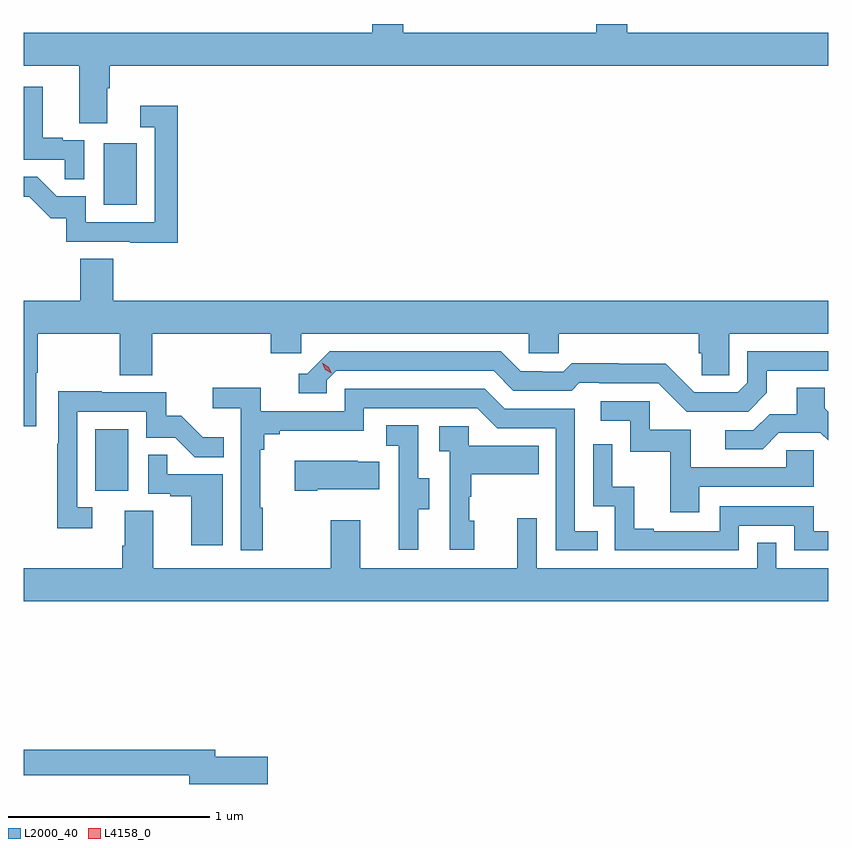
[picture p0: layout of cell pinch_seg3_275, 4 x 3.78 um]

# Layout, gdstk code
import gdstk
lib = gdstk.Library(unit=1e-6, precision=1e-09)
def R(c, l, rs):  # rectangles x0, y0, x1, y1
    for r in rs: c.add(gdstk.rectangle(r[:2], r[2:], *l))
def P(c, l, *ps):  # polygons
    for p in ps: c.add(gdstk.Polygon(p, *l))
L2000_40 = (2000, 40)
L4158_0 = (4158, 0)

pinch_seg3_275 = lib.new_cell('pinch_seg3_275')
R(pinch_seg3_275, L2000_40, [(897.476,708.126,897.64,708.433), (897.518,709.548,897.682,709.855)])
P(pinch_seg3_275, L2000_40, [(897.535,710.128),(897.548,710.128),(897.548,710.24),(901.121,710.24),(901.121,710.404),(900.122,710.404),(900.122,710.448),(899.969,710.448),(899.969,710.404),(899.009,710.404),(899.009,710.448),(898.853,710.448),(898.853,710.404),(897.121,710.404),(897.121,710.24),(897.395,710.24),(897.395,709.954),(897.535,709.954)],
  [(897.42,709.869),(897.314,709.869),(897.314,709.882),(897.214,709.882),(897.214,710.137),(897.121,710.137),(897.121,709.773),(897.325,709.773),(897.325,709.675),(897.42,709.675)],
  [(897.887,710.041),(897.699,710.041),(897.699,709.935),(897.771,709.935),(897.771,709.461),(897.429,709.461),(897.429,709.59),(897.285,709.59),(897.187,709.688),(897.121,709.688),(897.121,709.589),(897.147,709.589),(897.254,709.482),(897.331,709.482),(897.331,709.365),(897.649,709.365),(897.649,709.36),(897.887,709.36)],
  [(897.181,708.712),(897.189,708.712),(897.189,708.908),(897.598,708.908),(897.598,708.7),(897.758,708.7),(897.758,708.908),(898.349,708.908),(898.349,708.81),(898.5,708.81),(898.5,708.908),(899.631,708.908),(899.631,708.81),(899.781,708.81),(899.781,708.908),(900.479,708.908),(900.479,708.81),(900.493,708.81),(900.493,708.7),(900.63,708.7),(900.63,708.908),(901.121,708.908),(901.121,709.072),(897.566,709.072),(897.566,709.28),(897.401,709.28),(897.401,709.072),(897.121,709.072),(897.121,708.447),(897.181,708.447)],
  [(900.817,708.613),(900.817,708.723),(901.121,708.723),(901.121,708.819),(900.72,708.819),(900.72,708.663),(900.672,708.615),(900.456,708.615),(900.314,708.757),(900.078,708.757),(900.078,708.76),(899.845,708.76),(899.803,708.717),(899.7,708.717),(899.7,708.72),(899.593,708.72),(899.494,708.819),(898.641,708.819),(898.53,708.708),(898.487,708.708),(898.487,708.612),(898.626,708.612),(898.626,708.675),(898.674,708.723),(899.457,708.723),(899.556,708.624),(899.845,708.624),(899.884,708.663),(899.983,708.663),(899.983,708.66),(900.276,708.66),(900.417,708.519),(900.723,708.519)],
  [(898.309,708.041),(898.297,708.041),(898.297,708.329),(898.316,708.329),(898.316,708.406),(898.393,708.406),(898.393,708.425),(898.812,708.425),(898.812,708.537),(899.376,708.537),(899.475,708.438),(899.766,708.438),(899.766,707.829),(899.975,707.829),(899.975,707.925),(899.862,707.925),(899.862,708.534),(899.512,708.534),(899.413,708.633),(898.716,708.633),(898.716,708.522),(898.298,708.522),(898.298,708.638),(898.059,708.638),(898.059,708.536),(898.2,708.536),(898.2,707.829),(898.309,707.829)],
  [(900.877,708.414),(901.083,708.414),(901.121,708.376),(901.121,708.52),(901.105,708.536),(901.105,708.638),(900.965,708.638),(900.965,708.506),(900.83,708.506),(900.75,708.426),(900.609,708.426),(900.609,708.333),(900.796,708.333)],
  [(897.46,708.045),(897.387,708.045),(897.387,708.519),(897.729,708.519),(897.729,708.39),(897.873,708.39),(897.971,708.292),(898.115,708.292),(898.115,708.391),(898.011,708.391),(897.904,708.498),(897.828,708.498),(897.828,708.615),(897.509,708.615),(897.509,708.62),(897.291,708.62),(897.291,708.359),(897.286,708.359),(897.286,707.94),(897.46,707.94)],
  [(900.481,708.147),(901.05,708.147),(901.05,708.327),(900.913,708.327),(900.913,708.243),(900.439,708.243),(900.439,708.429),(900.234,708.429),(900.234,708.57),(899.991,708.57),(899.991,708.474),(900.138,708.474),(900.138,708.321),(900.337,708.321),(900.337,708.018),(900.481,708.018)],
  [(899.083,708.034),(899.137,708.034),(899.137,708.189),(899.082,708.189),(899.082,708.452),(898.923,708.452),(898.923,708.349),(898.986,708.349),(898.986,708.045),(898.985,708.045),(898.985,707.832),(899.083,707.832)],
  [(899.362,707.976),(899.337,707.976),(899.337,708.095),(899.347,708.095),(899.347,708.209),(899.681,708.209),(899.681,708.349),(899.334,708.349),(899.334,708.447),(899.187,708.447),(899.187,708.323),(899.238,708.323),(899.238,707.832),(899.362,707.832)],
  [(900.678,707.952),(900.954,707.952),(900.954,707.829),(901.121,707.829),(901.121,707.925),(901.05,707.925),(901.05,708.048),(900.582,708.048),(900.582,707.925),(900.253,707.925),(900.253,707.938),(900.158,707.938),(900.158,708.146),(900.048,708.146),(900.048,708.358),(899.952,708.358),(899.952,708.048),(900.06,708.048),(900.06,707.829),(900.678,707.829)],
  [(898.111,708.207),(897.833,708.207),(897.833,708.305),(897.738,708.305),(897.738,708.111),(897.849,708.111),(897.849,708.099),(897.953,708.099),(897.953,707.856),(898.111,707.856)],
  [(898.579,708.134),(898.889,708.134),(898.889,708.271),(898.781,708.271),(898.781,708.274),(898.467,708.274),(898.467,708.127),(898.579,708.127)],
  [(901.121,707.74),(900.864,707.74),(900.864,707.867),(900.768,707.867),(900.768,707.74),(899.673,707.74),(899.673,707.989),(899.576,707.989),(899.576,707.74),(898.795,707.74),(898.795,707.98),(898.648,707.98),(898.648,707.74),(897.763,707.74),(897.763,708.026),(897.623,708.026),(897.623,707.852),(897.611,707.852),(897.611,707.74),(897.121,707.74),(897.121,707.576),(901.121,707.576)],
  [(898.333,706.802),(898.072,706.802),(898.072,706.838),(897.121,706.838),(897.121,706.71),(897.944,706.71),(897.944,706.667),(898.333,706.667)])
P(pinch_seg3_275, L4158_0, [(898.651,708.71),(898.62,708.729),(898.604,708.762),(898.604,708.762),(898.604,708.762),(898.635,708.743),(898.652,708.71),(898.652,708.71)])

lib.write_gds('pinch_seg3_275.gds')
